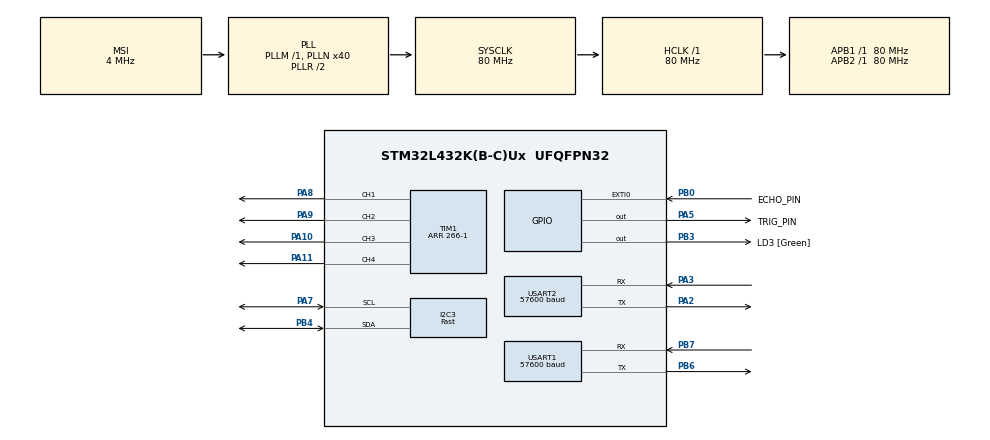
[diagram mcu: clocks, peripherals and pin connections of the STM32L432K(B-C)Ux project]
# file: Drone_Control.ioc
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CRC.CRCLength=CRC_POLYLENGTH_8B
CRC.DefaultInitValueUse=DEFAULT_INIT_VALUE_DISABLE
CRC.DefaultPolynomialUse=DEFAULT_POLYNOMIAL_DISABLE
CRC.GeneratingPolynomial=X4+X3+X2+X0
CRC.InitValue=0xFF
Dma.Request0=TIM1_CH1
Dma.Request1=TIM1_CH2
Dma.Request2=TIM1_CH3
Dma.Request3=TIM1_CH4/TRIG/COM
Dma.TIM1_CH1.0.Direction=DMA_MEMORY_TO_PERIPH
Dma.TIM1_CH1.0.Instance=DMA1_Channel2
Dma.TIM1_CH1.0.MemDataAlignment=DMA_MDATAALIGN_WORD
Dma.TIM1_CH1.0.MemInc=DMA_MINC_ENABLE
Dma.TIM1_CH1.0.Mode=DMA_NORMAL
Dma.TIM1_CH1.0.PeriphDataAlignment=DMA_PDATAALIGN_HALFWORD
Dma.TIM1_CH1.0.PeriphInc=DMA_PINC_DISABLE
Dma.TIM1_CH1.0.Priority=DMA_PRIORITY_MEDIUM
Dma.TIM1_CH2.1.Direction=DMA_MEMORY_TO_PERIPH
Dma.TIM1_CH2.1.Instance=DMA1_Channel3
Dma.TIM1_CH2.1.MemDataAlignment=DMA_MDATAALIGN_WORD
Dma.TIM1_CH2.1.MemInc=DMA_MINC_ENABLE
Dma.TIM1_CH2.1.Mode=DMA_NORMAL
Dma.TIM1_CH2.1.PeriphDataAlignment=DMA_PDATAALIGN_HALFWORD
Dma.TIM1_CH2.1.PeriphInc=DMA_PINC_DISABLE
Dma.TIM1_CH2.1.Priority=DMA_PRIORITY_MEDIUM
Dma.TIM1_CH3.2.Direction=DMA_MEMORY_TO_PERIPH
Dma.TIM1_CH3.2.Instance=DMA1_Channel7
Dma.TIM1_CH3.2.MemDataAlignment=DMA_MDATAALIGN_WORD
Dma.TIM1_CH3.2.MemInc=DMA_MINC_ENABLE
Dma.TIM1_CH3.2.Mode=DMA_NORMAL
Dma.TIM1_CH3.2.PeriphDataAlignment=DMA_PDATAALIGN_HALFWORD
Dma.TIM1_CH3.2.PeriphInc=DMA_PINC_DISABLE
Dma.TIM1_CH3.2.Priority=DMA_PRIORITY_MEDIUM
Dma.TIM1_CH4/TRIG/COM.3.Direction=DMA_MEMORY_TO_PERIPH
Dma.TIM1_CH4/TRIG/COM.3.Instance=DMA1_Channel4
Dma.TIM1_CH4/TRIG/COM.3.MemDataAlignment=DMA_MDATAALIGN_WORD
Dma.TIM1_CH4/TRIG/COM.3.MemInc=DMA_MINC_ENABLE
Dma.TIM1_CH4/TRIG/COM.3.Mode=DMA_NORMAL
Dma.TIM1_CH4/TRIG/COM.3.PeriphDataAlignment=DMA_PDATAALIGN_HALFWORD
Dma.TIM1_CH4/TRIG/COM.3.PeriphInc=DMA_PINC_DISABLE
Dma.TIM1_CH4/TRIG/COM.3.Priority=DMA_PRIORITY_MEDIUM
I2C3.I2C_Speed_Mode=I2C_Fast
I2C3.Timing=0x00F12981
Mcu.Family=STM32L4
Mcu.Name=STM32L432K(B-C)Ux
Mcu.Package=UFQFPN32
NVIC.DMA1_Channel2_IRQn=true\:1\:0\:true\:false\:true\:false\:true\:true
NVIC.DMA1_Channel3_IRQn=true\:1\:0\:true\:false\:true\:false\:true\:true
NVIC.DMA1_Channel4_IRQn=true\:1\:0\:true\:false\:true\:false\:true\:true
NVIC.DMA1_Channel7_IRQn=true\:1\:0\:true\:false\:true\:false\:true\:true
NVIC.EXTI0_IRQn=true\:0\:0\:true\:false\:true\:true\:true\:true
NVIC.PriorityGroup=NVIC_PRIORITYGROUP_1
NVIC.TIM1_BRK_TIM15_IRQn=true\:0\:0\:true\:false\:true\:true\:true\:true
NVIC.USART2_IRQn=true\:1\:0\:true\:false\:true\:true\:true\:true
PA0.GPIO_Label=MCO [High speed clock in]
PA0.Mode=HSE-External-Clock-Source-for-LittleOrca
PA0.Signal=RCC_CK_IN
PA10.Signal=S_TIM1_CH3
PA11.Signal=S_TIM1_CH4
PA13\ (JTMS-SWDIO).GPIO_Label=SWDIO
PA13\ (JTMS-SWDIO).Mode=Serial_Wire
PA13\ (JTMS-SWDIO).Signal=SYS_JTMS-SWDIO
PA14\ (JTCK-SWCLK).GPIO_Label=SWCLK
PA14\ (JTCK-SWCLK).Mode=Serial_Wire
PA14\ (JTCK-SWCLK).Signal=SYS_JTCK-SWCLK
PA2.Mode=Asynchronous
PA2.Signal=USART2_TX
PA3.Mode=Asynchronous
PA3.Signal=USART2_RX
PA5.GPIO_Label=TRIG_PIN
PA5.Signal=GPIO_Output
PA7.Mode=I2C
PA7.Signal=I2C3_SCL
PA8.Signal=S_TIM1_CH1
PA9.Signal=S_TIM1_CH2
PB0.GPIO_Label=ECHO_PIN
PB0.GPIO_ModeDefaultEXTI=GPIO_MODE_IT_RISING_FALLING
PB0.GPIO_PuPd=GPIO_PULLDOWN
PB0.Signal=GPXTI0
PB3\ (JTDO-TRACESWO).GPIO_Label=LD3 [Green]
PB3\ (JTDO-TRACESWO).Signal=GPIO_Output
PB4\ (NJTRST).Mode=I2C
PB4\ (NJTRST).Signal=I2C3_SDA
PB6.Mode=Asynchronous
PB6.Signal=USART1_TX
PB7.Mode=Asynchronous
PB7.Signal=USART1_RX
PC14-OSC32_IN\ (PC14).Mode=LSE-External-Oscillator
PC14-OSC32_IN\ (PC14).Signal=RCC_OSC32_IN
PC15-OSC32_OUT\ (PC15).Mode=LSE-External-Oscillator
PC15-OSC32_OUT\ (PC15).Signal=RCC_OSC32_OUT
ProjectManager.HeapSize=0x200
ProjectManager.StackSize=0x400
ProjectManager.TargetToolchain=STM32CubeIDE
RCC.AHBFreq_Value=80000000
RCC.APB1Freq_Value=80000000
RCC.APB1TimFreq_Value=80000000
RCC.APB2Freq_Value=80000000
RCC.APB2TimFreq_Value=80000000
RCC.CortexFreq_Value=80000000
RCC.HCLKFreq_Value=80000000
RCC.HSE_VALUE=8000000
RCC.HSI16_VALUE=16000000
RCC.HSI48_VALUE=48000000
RCC.HSI_VALUE=16000000
RCC.MSI_VALUE=4000000
RCC.PLLMUL=RCC_PLLMUL_4
RCC.PLLN=40
RCC.SYSCLKFreq_VALUE=80000000
RCC.SYSCLKSource=RCC_SYSCLKSOURCE_PLLCLK
RCC.VCOOutputFreq_Value=160000000
SH.S_TIM1_CH1.0=TIM1_CH1,PWM Generation1 CH1
SH.S_TIM1_CH2.0=TIM1_CH2,PWM Generation2 CH2
SH.S_TIM1_CH3.0=TIM1_CH3,PWM Generation3 CH3
SH.S_TIM1_CH4.0=TIM1_CH4,PWM Generation4 CH4
TIM1.AutoReloadPreload=TIM_AUTORELOAD_PRELOAD_ENABLE
TIM1.Channel-PWM\ Generation1\ CH1=TIM_CHANNEL_1
TIM1.Channel-PWM\ Generation2\ CH2=TIM_CHANNEL_2
TIM1.Channel-PWM\ Generation3\ CH3=TIM_CHANNEL_3
TIM1.Channel-PWM\ Generation4\ CH4=TIM_CHANNEL_4
TIM1.Period=266-1
TIM15.AutoReloadPreload=TIM_AUTORELOAD_PRELOAD_ENABLE
TIM15.Period=8000-1
TIM15.Prescaler=100-1
TIM2.AutoReloadPreload=TIM_AUTORELOAD_PRELOAD_ENABLE
TIM2.Period=4294967295
TIM2.Prescaler=79
USART1.BaudRate=57600
USART1.VirtualMode-Asynchronous=VM_ASYNC
USART2.BaudRate=57600
USART2.VirtualMode-Asynchronous=VM_ASYNC
VP_CRC_VS_CRC.Mode=CRC_Activate
VP_TIM15_VS_ClockSourceINT.Mode=Internal
VP_TIM1_VS_ClockSourceINT.Mode=Internal
VP_TIM2_VS_ClockSourceINT.Mode=Internal
board=NUCLEO-L432KC

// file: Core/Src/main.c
/* USER CODE BEGIN Header */
/**
  ******************************************************************************
  * @file           : main.c
  * @brief          : Main program body
  ******************************************************************************
  * @attention
  *
  * Copyright (c) 2025 STMicroelectronics.
  * All rights reserved.
  *
  * This software is licensed under terms that can be found in the LICENSE file
  * in the root directory of this software component.
  * If no LICENSE file comes with this software, it is provided AS-IS.
  *
  ******************************************************************************
  */
/* USER CODE END Header */
#include <imu_complementary_filter.h>
#include "main.h"
#include "crc.h"
#include "dma.h"
#include "i2c.h"
#include "tim.h"
#include "usart.h"
#include "gpio.h"

/* USER CODE BEGIN Includes */
#include "dshot300.h"
#include "mpu6050.h"
#include "stdio.h"//printf function
#include "pid_controller.h"
#include <string.h>
#include <stdbool.h>
#include "bno055_stm32.h"
#include "imu_kalman_filter.h"
#include "imu_complementary_filter.h"
#include "esp32_cmd.h"
#include "hcsr04.h"

/* USER CODE END Includes */

/* USER CODE BEGIN PD */
#define ESP32_UART_HANDLE &huart2
#define ESP32_MSG_LENGTH 6
#define BNO_I2C_HANDLE &hi2c3

#define SAMPLE_TIME 0.01f

#define PID_KP_MIN 4.0f
#define PID_KP_MAX 12.0f
#define PID_KI_MIN 0.1f
#define PID_KI_MAX 5.0f
#define PID_KD_MIN 4.0f
#define PID_KD_MAX 20.0f
#define PID_TAU_MIN 0.1f
#define PID_TAU_MAX 0.2f

#define ROLL_REF_MIN -15.0f
#define ROLL_REF_MAX 15.0f

#define PITCH_REF_MIN -15.0f
#define PITCH_REF_MAX 15.0f

#define YAW_REF_MIN 100.0f
#define YAW_REF_MAX 200.0f

#define Z_REF_MIN 3.0f
#define Z_REF_MAX 20.0f

#define YAW_BIAS 150.0f

#define SPEED_MIN 48
#define MAX_SPEED 1900

#define SPEED_OFFSET 600.0f
#define ADC_TIMEOUT 1   // us

#define speed 200

//Kalman filter parameters

#define Qa_roll  0.006955685f
#define Qa_pitch  0.012531481f

#define Qb_roll  0.00006955685f
#define Qb_pitch  0.00006955685f

#define R_roll 0.00708008f
#define R_pitch 0.005146486f

/* USER CODE END PD */

/* USER CODE BEGIN PV */

/* Podstawowe dane i parametry */
uint16_t speed_ref[DSHOT_NUM_MOTORS] = {speed, speed, speed, speed};
volatile uint8_t white_button_flag = 0;

/* PID controllery */
PID_t pid_pitch;
PID_t pid_roll;
PID_t pid_yaw;
PID_t pid_z;

/* Wzmocnienia regulatorów */
float kp = 4.5f;
float ki = 2.6f;
float kd = 14.0f;
float tau = 0.09f;

float kp_y = 5.0f;
float ki_y = 1.5f;
float kd_y = 12.0f;
float tau_y = 0.1f;

float kp_z = 22.0f;
float ki_z = 6.0f;
float kd_z = 8.0f;
float tau_z = 0.1f;

/* Liczniki i sygnały odniesienia */
volatile float pid_z_counter = 1.0f;
volatile float ref_signal_counter = -1000.0f;
volatile uint8_t num_ref = 0;
volatile uint8_t num_ref_prev = 0;

/* Wartości zadane */
float REF_PITCH_ANGLE = 0.0f;
float REF_ROLL_ANGLE  = 0.0f;
float REF_YAW_ANGLE   = 100.0f;
float REF_Z_DISTANCE  = 10.0f;

/* Sekwencje sygnałów odniesienia */
static const float ref_signals[][4] = {
    // pitch, roll, yaw, z
    [0]  = {0.0, 0.0, 100.0, 10.0},
    [1]  = {0.0, 0.0, 100.0, 20.0},
    [2]  = {0.0, 0.0, 100.0, 10.0},
    [3]  = {0.0, 0.0, 200.0, 10.0},
    [4]  = {0.0, 0.0, 100.0, 10.0},
    [5]  = {10.0, 0.0, 100.0, 10.0},
    [6]  = {-10.0, 0.0, 100.0, 10.0},
    [7]  = {0.0, 10.0, 100.0, 10.0},
    [8]  = {0.0, -10.0, 100.0, 10.0},
    [9]  = {0.0, 0.0, 100.0, 10.0},
    [10] = {0.0, 0.0, 100.0, 3.0},
    [11] = {0.0, 0.0, 100.0, 10.0},
};

/* Flagi i stany systemowe */
volatile uint8_t SS = 0;
volatile uint8_t emergency_stop_flag = 0;

/* Dane z czujników i filtru */
volatile bno055_vector_t bno_vector;
volatile float copter_pitch_angle;
volatile float copter_roll_angle;
volatile float copter_yaw_angle;
volatile float copter_z_distance;

volatile float copter_pitch_angle_kal;
volatile float copter_roll_angle_kal;

/* Wyjścia regulatorów */
volatile float speed_pitch_ref;
volatile float speed_roll_ref;
volatile float speed_yaw_ref;
volatile float speed_z_ref;

/* Sygnały prędkości dla ESC */
volatile uint16_t speed_1_ref;
volatile uint16_t speed_2_ref;
volatile uint16_t speed_3_ref;
volatile uint16_t speed_4_ref;

/* Komunikacja z ESP32 */
uint8_t esp32_data_received_flag = 0;
uint8_t rx_esp32_data[ESP32_MSG_LENGTH];

/* Debug UART */
uint8_t uart_line[64];
int uart_line_length;
uint32_t UartDebugSoftTimer;

/* IMU i filtry */
MPU6050_t MPU6050;
IMU_Angles imu_angles;
KalmanFilter Roll;
KalmanFilter Pitch;

/* HC-SR04 – struktura drivera */
static HCSR04_t hcsr;

/* USER CODE END PV */

void SystemClock_Config(void);
/* USER CODE BEGIN PFP */
uint8_t compute_crc8(const uint8_t *data, uint8_t length);
/* USER CODE END PFP */

/* USER CODE BEGIN 0 */
float AngX, AngY;
/* USER CODE END 0 */

int main(void)
{

  /* MCU Configuration--------------------------------------------------------*/

  /* Reset of all peripherals, Initializes the Flash interface and the Systick. */
  HAL_Init();

  /* Configure the system clock */
  SystemClock_Config();

  /* Initialize all configured peripherals */
  MX_GPIO_Init();
  MX_DMA_Init();
  MX_USART2_UART_Init();
  MX_CRC_Init();
  MX_I2C3_Init();
  MX_TIM1_Init();
  MX_USART1_UART_Init();
  MX_TIM2_Init();
  MX_TIM15_Init();
  /* USER CODE BEGIN 2 */
  //MPU6050_Init(&hi2c3);
  //MPU6050_Calibrate_Gyro(&hi2c3, &MPU6050, 500);

  Kalman_Init(&Roll, Qa_roll, Qb_roll, R_roll);
  Kalman_Init(&Pitch, Qa_pitch, Qb_pitch, R_pitch);

  HAL_TIM_Base_Start(&htim2); //Czas do czujników odległościowych
  HAL_TIM_Base_Start_IT(&htim15); //Timer od częstotliwości regulatora i wysyłania prędkości do drona
  //HAL_TIM_Base_Start_IT(&htim1); // control loop interrupt

  // PID controllers
  	PID_Init_Bartek_s_Lab(&pid_pitch, kp, ki, kd,
  	tau, -250.0f, 250.0f, SAMPLE_TIME);

  	PID_Init_Bartek_s_Lab(&pid_roll, kp, ki, kd,
  	tau, -250.0f, 250.0f, SAMPLE_TIME);

  	PID_Init_Bartek_s_Lab(&pid_yaw, kp_y, ki_y, kd_y,
  	tau_y, -300.0f, 300.0f, SAMPLE_TIME);

  	PID_Init_Bartek_s_Lab(&pid_z, kp_z, ki_z, kd_z,
  	  	tau_z, -150.0f, 400.0f, SAMPLE_TIME);

  	UartDebugSoftTimer = HAL_GetTick();

	HAL_Delay(2000); // let the motor stop after uC RST

	dshot_arm_all_esc();

//	SS=2;

	// AHRS
		bno055_assignI2C(BNO_I2C_HANDLE);
		bno055_setup();
		bno055_setOperationModeNDOF();

	static ESP32_CmdCtx esp_ctx = {
		    .pid_pitch = &pid_pitch,
		    .pid_roll  = &pid_roll,
		    .pid_yaw   = &pid_yaw,
		    .pid_z     = &pid_z,

		    .kp = &kp, .ki = &ki, .kd = &kd, .tau = &tau,

		    .kp_y = &kp_y, .ki_y = &ki_y, .kd_y = &kd_y, .tau_y = &tau_y,
		    .kp_z = &kp_z, .ki_z = &ki_z, .kd_z = &kd_z, .tau_z = &tau_z,

		    .ref_roll  = &REF_ROLL_ANGLE,
		    .ref_pitch = &REF_PITCH_ANGLE,
		    .ref_yaw   = &REF_YAW_ANGLE,
		    .ref_z     = &REF_Z_DISTANCE,

		    .kp_min = PID_KP_MIN,   .kp_max = PID_KP_MAX,
		    .ki_min = PID_KI_MIN,   .ki_max = PID_KI_MAX,
		    .kd_min = PID_KD_MIN,   .kd_max = PID_KD_MAX,
		    .tau_min = PID_TAU_MIN, .tau_max = PID_TAU_MAX,

		    .roll_min  = ROLL_REF_MIN,   .roll_max  = ROLL_REF_MAX,
		    .pitch_min = PITCH_REF_MIN,  .pitch_max = PITCH_REF_MAX,
		    .yaw_min   = YAW_REF_MIN,    .yaw_max   = YAW_REF_MAX,
		    .z_min     = Z_REF_MIN,      .z_max     = Z_REF_MAX,
		};

	/* HC-SR04: TIM2 jako licznik czasu ECHO, TRIG/ECHO jak w CubeMX */
	HCSR04_Init(&hcsr,
	            &htim2,
	            1000000u,                  /* timer_hz (tu 1 MHz) */
	            TRIG_PIN_GPIO_Port, TRIG_PIN_Pin,
	            ECHO_PIN_Pin);

	/* Opcjonalnie: co 6 wywołań timera sterującego zrób trigger (jak Twój Trig_counter) */
	HCSR04_SetPeriodicDivider(&hcsr, 6);
	/* Opcjonalnie: długość impulsu TRIG (domyślnie ~50 µs) */
	HCSR04_SetTrigPulse(&hcsr, 400);

  /* USER CODE END 2 */

  /* Infinite loop */
  /* USER CODE BEGIN WHILE */

  	memset(rx_esp32_data, 0x00, ESP32_MSG_LENGTH); //Zeruje bufor rx_esp32_data
  	HAL_UART_Receive_IT(ESP32_UART_HANDLE, rx_esp32_data,ESP32_MSG_LENGTH); // uruchamia odbieranie danych przez UART w trybie przerwań. Kiedy dane przyjdą, zostanie wywołane HAL_UART_RxCpltCallback.
	while (1)
	{

		if (white_button_flag == 1)
		{
			white_button_flag = 0;
			__NOP();
		}
	    (void)ESP32_PollAndProcess(&esp32_data_received_flag,
	                               rx_esp32_data,
	                               ESP32_MSG_LENGTH,    // = 6
	                               &esp_ctx);

//		PID_Controller_Update_Gains(&pid_pitch, kp, ki, kd, tau);
//		PID_Controller_Update_Gains(&pid_roll, kp, ki, kd, tau);
//		PID_Controller_Update_Gains(&pid_yaw, kp_y, ki_y, kd_y, tau_y);
//		PID_Controller_Update_Gains(&pid_z, kp_z, ki_z, kd_z, tau_z);
		if (num_ref!=num_ref_prev){
			REF_SIGNAL(num_ref);
			num_ref_prev=num_ref;
		}

    /* USER CODE END WHILE */

	}
}

void SystemClock_Config(void)
{
  RCC_OscInitTypeDef RCC_OscInitStruct = {0};
  RCC_ClkInitTypeDef RCC_ClkInitStruct = {0};

  /** Configure the main internal regulator output voltage
  */
  if (HAL_PWREx_ControlVoltageScaling(PWR_REGULATOR_VOLTAGE_SCALE1) != HAL_OK)
  {
    Error_Handler();
  }

  /** Configure LSE Drive Capability
  */
  HAL_PWR_EnableBkUpAccess();
  __HAL_RCC_LSEDRIVE_CONFIG(RCC_LSEDRIVE_LOW);

  /** Initializes the RCC Oscillators according to the specified parameters
  * in the RCC_OscInitTypeDef structure.
  */
  RCC_OscInitStruct.OscillatorType = RCC_OSCILLATORTYPE_LSE|RCC_OSCILLATORTYPE_MSI;
  RCC_OscInitStruct.LSEState = RCC_LSE_ON;
  RCC_OscInitStruct.MSIState = RCC_MSI_ON;
  RCC_OscInitStruct.MSICalibrationValue = 0;
  RCC_OscInitStruct.MSIClockRange = RCC_MSIRANGE_6;
  RCC_OscInitStruct.PLL.PLLState = RCC_PLL_ON;
  RCC_OscInitStruct.PLL.PLLSource = RCC_PLLSOURCE_MSI;
  RCC_OscInitStruct.PLL.PLLM = 1;
  RCC_OscInitStruct.PLL.PLLN = 40;
  RCC_OscInitStruct.PLL.PLLP = RCC_PLLP_DIV7;
  RCC_OscInitStruct.PLL.PLLQ = RCC_PLLQ_DIV2;
  RCC_OscInitStruct.PLL.PLLR = RCC_PLLR_DIV2;
  if (HAL_RCC_OscConfig(&RCC_OscInitStruct) != HAL_OK)
  {
    Error_Handler();
  }

  /** Initializes the CPU, AHB and APB buses clocks
  */
  RCC_ClkInitStruct.ClockType = RCC_CLOCKTYPE_HCLK|RCC_CLOCKTYPE_SYSCLK
                              |RCC_CLOCKTYPE_PCLK1|RCC_CLOCKTYPE_PCLK2;
  RCC_ClkInitStruct.SYSCLKSource = RCC_SYSCLKSOURCE_PLLCLK;
  RCC_ClkInitStruct.AHBCLKDivider = RCC_SYSCLK_DIV1;
  RCC_ClkInitStruct.APB1CLKDivider = RCC_HCLK_DIV1;
  RCC_ClkInitStruct.APB2CLKDivider = RCC_HCLK_DIV1;

  if (HAL_RCC_ClockConfig(&RCC_ClkInitStruct, FLASH_LATENCY_4) != HAL_OK)
  {
    Error_Handler();
  }

  /** Enable MSI Auto calibration
  */
  HAL_RCCEx_EnableMSIPLLMode();
}

/* USER CODE BEGIN 4 */

//////////////////FUNKCJA ODPOWIADAJĄCA ZA PRZELICZENIE WYCHYLENIA NA PRĘDKOŚCI REFERENCYJNE SILNIKÓW/////////////////////////

void HAL_TIM_PeriodElapsedCallback(TIM_HandleTypeDef *htim) //wejście w przerwanie
{
	uint16_t speeds[4];
	uint16_t base[4];
	//float U_vec[3];

	if (htim->Instance == TIM15) //sprawdzenie od którego timera jest przerwanie
	{
		/* Periodyczne wyzwalanie pomiaru odległości */
		(void)HCSR04_OnPeriodic(&hcsr);

		/* Jeśli przyszła nowa próbka – pobierz i przypisz do zmiennej systemowej */
		if (HCSR04_HasNew(&hcsr)) {
		    copter_z_distance = HCSR04_GetDistanceCm(&hcsr);
		}

		/*
		/////////////POBIERANIE WYCHYLENIA Z CZUJNIKA MPU6050/////////////
		MPU6050_Read_All(&hi2c3, &MPU6050);
		copter_pitch_angle = MPU6050.KalmanAngleX;
		copter_roll_angle = MPU6050.KalmanAngleY;
		copter_yaw_angle+=MPU6050.Gz*SAMPLE_TIME;
		*/
		//////////////DANE Z BNO(SUROWE+WEWNĘTRZNA FUZJA)//////////
		bno055_vector_t acc= bno055_getVectorAccelerometer();

//		ac_x=acc.x;
//	    ac_x  = atan2f(acc.y, acc.z) * 57.2958;
//	    ac_x_f= 0.7f*acc.x+0.3f*ac_x_f;
//	    ac_y=acc.y;
//	    ac_y = atan2f(-acc.x, sqrtf(acc.y*acc.y + acc.z*acc.z)) * 57.2958;
//	    ac_y_f= 0.7f*acc.y+0.3f*ac_y_f;
		bno055_vector_t gyro= bno055_getVectorGyroscope();
//		gyr_x=0.8f*gyro.x+0.2f*gyr_x;
//		gyr_y=0.8f*gyro.y+0.2f*gyr_y;;
//		IMU_Fusion_Update(&imu_angles, acc.x, acc.y, acc.z, gyro.x, gyro.y, gyro.z, SAMPLE_TIME);
//
//		copter_pitch_angle_komp = -imu_angles.pitch;
//		copter_roll_angle_komp = -imu_angles.roll;

		Kalman_Update(&copter_roll_angle_kal, &copter_pitch_angle_kal, &Roll, &Pitch, acc.x, acc.y, acc.z, gyro.x, gyro.y, gyro.z);

		////////////////DANE Z BNO(ZEWNĘTRZNA FUZJA)///////////////////

		bno_vector = bno055_getVectorEuler();
		copter_pitch_angle = copter_pitch_angle_kal;
		copter_roll_angle = copter_roll_angle_kal;

//		copter_pitch_angle = bno_vector.y;
//		copter_roll_angle = bno_vector.z;
		copter_yaw_angle = bno_vector.x;

		//////////////////OBLICZANIE WYJŚCIA REGULATORA WYKORZYSTUJĄC ERROR ORAZ REF ANGLE//////////////////
		if(SS==1){
			speed_pitch_ref = PID_Controller_Bartek_s_Lab(&pid_pitch,REF_PITCH_ANGLE,
					copter_pitch_angle);
			speed_roll_ref = PID_Controller_Bartek_s_Lab(&pid_roll, REF_ROLL_ANGLE,
					copter_roll_angle);
			speed_yaw_ref = PID_Controller_Bartek_s_Lab(&pid_yaw, REF_YAW_ANGLE,
					copter_yaw_angle);

			////////////////3DOF/////////////////////

			if(pid_z_counter!=0){
				speed_1_ref = (uint16_t) (SPEED_OFFSET + speed_roll_ref
						+ speed_pitch_ref +speed_yaw_ref);
				speed_2_ref = (uint16_t) (SPEED_OFFSET + speed_roll_ref
						- speed_pitch_ref -speed_yaw_ref);
				speed_3_ref = (uint16_t) (SPEED_OFFSET - speed_roll_ref
						- speed_pitch_ref +speed_yaw_ref);
				speed_4_ref = (uint16_t) (SPEED_OFFSET - speed_roll_ref
						+ speed_pitch_ref -speed_yaw_ref);
			}
//
//
//
//			////////////////4DOF/////////////////////
			else {
				speed_z_ref = PID_Controller_Bartek_s_Lab(&pid_z, REF_Z_DISTANCE,
										copter_z_distance);

//				speed_1_ref = (uint16_t) (SPEED_OFFSET + speed_roll_ref
//						+ speed_pitch_ref +speed_yaw_ref+speed_z_ref);
//				speed_2_ref = (uint16_t) (SPEED_OFFSET + speed_roll_ref
//						- speed_pitch_ref -speed_yaw_ref+speed_z_ref);
//				speed_3_ref = (uint16_t) (SPEED_OFFSET - speed_roll_ref
//						- speed_pitch_ref +speed_yaw_ref+speed_z_ref);
//				speed_4_ref = (uint16_t) (SPEED_OFFSET - speed_roll_ref
//						+ speed_pitch_ref -speed_yaw_ref+speed_z_ref);

				speed_1_ref = (uint16_t) (SPEED_OFFSET + speed_roll_ref
						+ speed_pitch_ref +speed_yaw_ref);
				speed_2_ref = (uint16_t) (SPEED_OFFSET + speed_roll_ref
						- speed_pitch_ref -speed_yaw_ref);
				speed_3_ref = (uint16_t) (SPEED_OFFSET - speed_roll_ref
						- speed_pitch_ref +speed_yaw_ref);
				speed_4_ref = (uint16_t) (SPEED_OFFSET - speed_roll_ref
						+ speed_pitch_ref -speed_yaw_ref);
			}

//
			if (ref_signal_counter==500){
				num_ref++;
				ref_signal_counter=0;
			}

			////////////////2DOF/////////////////////

//			speed_1_ref = (uint16_t) (SPEED_OFFSET + speed_roll_ref
//					+ speed_pitch_ref);
//			speed_2_ref = (uint16_t) (SPEED_OFFSET + speed_roll_ref
//					- speed_pitch_ref);
//			speed_3_ref = (uint16_t) (SPEED_OFFSET - speed_roll_ref
//					- speed_pitch_ref);
//			speed_4_ref = (uint16_t) (SPEED_OFFSET - speed_roll_ref
//					+ speed_pitch_ref);

			/////////////1DOF///////////////////////////

//			speed_1_ref = (uint16_t) (SPEED_OFFSET + speed_roll_ref);
//			speed_2_ref = (uint16_t) (SPEED_OFFSET + speed_roll_ref);
//			speed_3_ref = (uint16_t) (SPEED_OFFSET - speed_roll_ref);
//			speed_4_ref = (uint16_t) (SPEED_OFFSET - speed_roll_ref);

			///////////////SPRAWDZENIE CZY PRĘDKOŚCI MIESZCZĄ SIĘ W ZAKRESIE//////////
			// Double-check :))
			if (speed_1_ref < 48)
			{
				speed_1_ref = 48;
			}
			else if (speed_1_ref > MAX_SPEED)
			{
				speed_1_ref = MAX_SPEED;
			}
			else
			{
				__NOP();
			}

			if (speed_2_ref < 48)
			{
				speed_2_ref = 48;
			}
			else if (speed_2_ref > MAX_SPEED)
			{
				speed_2_ref = MAX_SPEED;
			}
			else
			{
				__NOP();
			}

			if (speed_3_ref < 48)
			{
				speed_3_ref = 48;
			}
			else if (speed_3_ref > MAX_SPEED)
			{
				speed_3_ref = MAX_SPEED;
			}
			else
			{
				__NOP();
			}

			if (speed_4_ref < 48)
			{
				speed_4_ref = 48;
			}
			else if (speed_4_ref > MAX_SPEED)
			{
				speed_4_ref = MAX_SPEED;
			}
			else
			{
				__NOP();
			}
			/////////WYSYŁANIE PRĘDKOŚCI DO ESC////////////
			speeds[0] = speed_1_ref;
			speeds[1] = speed_2_ref;
			speeds[2] = speed_3_ref;
			speeds[3] = speed_4_ref;
			dshot_send_all_ref_speeds(speeds);
//			base[0]=speed_test;
//			base[1]=speed_test;
//			base[2]=speed_test;
//			base[3]=speed_test;
//			dshot_send_all_ref_speeds(base);
			ref_signal_counter++;
			if(pid_z_counter<700 && pid_z_counter!=0)
			{
				pid_z_counter++;
			}
			else{
				pid_z_counter=0;
			}

		}

		else if (SS==2){
			__NOP();
		}

		else{
			base[0]=speed;
			base[1]=speed;
			base[2]=speed;
			base[3]=speed;
			dshot_send_all_ref_speeds(base);
		}

	}
}

void HAL_UART_RxCpltCallback(UART_HandleTypeDef *huart)
{
	if (huart->Instance == USART2)
	{
		esp32_data_received_flag = 1;
		HAL_UART_Receive_IT(huart, rx_esp32_data, ESP32_MSG_LENGTH);
	}
}

void HAL_GPIO_EXTI_Callback(uint16_t GPIO_Pin)
{
    /* Obsługa HC-SR04 (ECHO) */
    HCSR04_ProcessExti(&hcsr, GPIO_Pin);

}

void REF_SIGNAL(volatile uint8_t num) {
    if (num < sizeof(ref_signals)/sizeof(ref_signals[0])) {
        if (num == 11) {
            SS = 0;
        } else {
            REF_PITCH_ANGLE = ref_signals[num][0];
            REF_ROLL_ANGLE = ref_signals[num][1];
            REF_YAW_ANGLE = ref_signals[num][2];
            REF_Z_DISTANCE = ref_signals[num][3];
        }
    } else {
        num_ref = 12;
        num_ref_prev = 12;
    }
}
/* USER CODE END 4 */

void Error_Handler(void)
{
  __disable_irq();
  while (1)
  {
  }
}
